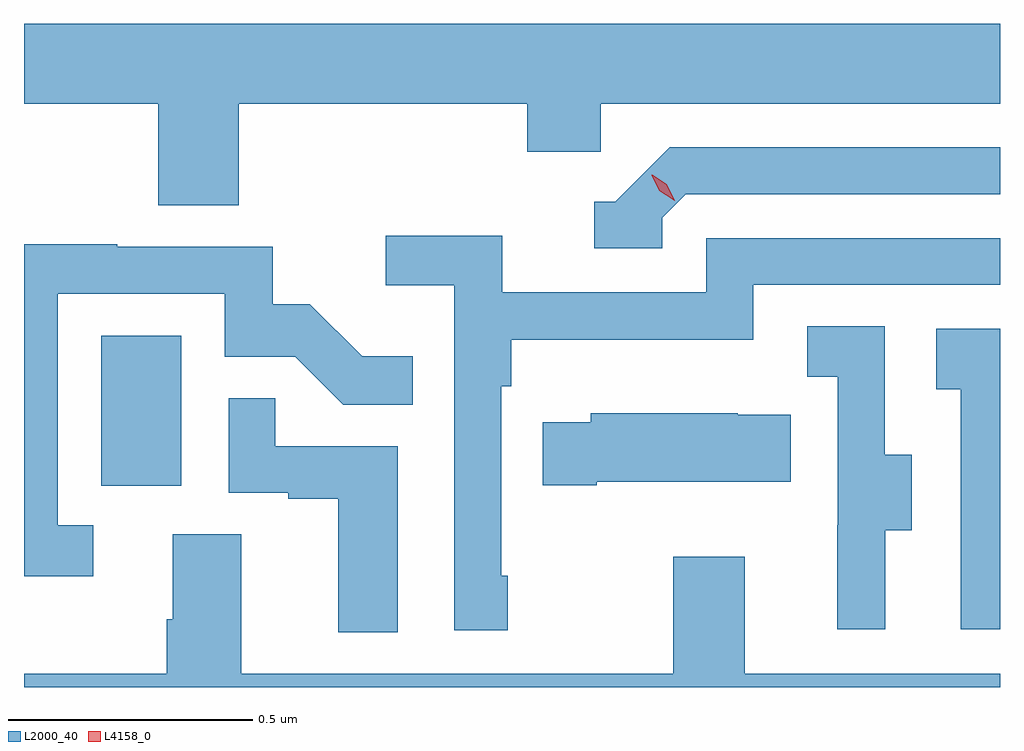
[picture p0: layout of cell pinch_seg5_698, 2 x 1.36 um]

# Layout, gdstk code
import gdstk
lib = gdstk.Library(unit=1e-6, precision=1e-09)
def R(c, l, rs):  # rectangles x0, y0, x1, y1
    for r in rs: c.add(gdstk.rectangle(r[:2], r[2:], *l))
def P(c, l, *ps):  # polygons
    for p in ps: c.add(gdstk.Polygon(p, *l))
L2000_40 = (2000, 40)
L4158_0 = (4158, 0)

pinch_seg5_698 = lib.new_cell('pinch_seg5_698')
R(pinch_seg5_698, L2000_40, [(1106.156,841.326,1106.32,841.633)])
P(pinch_seg5_698, L2000_40, [(1106.438,842.108),(1107.029,842.108),(1107.029,842.01),(1107.18,842.01),(1107.18,842.108),(1107.998,842.108),(1107.998,842.272),(1105.998,842.272),(1105.998,842.108),(1106.273,842.108),(1106.273,841.9),(1106.438,841.9)],
  [(1107.306,841.875),(1107.354,841.923),(1107.998,841.923),(1107.998,842.019),(1107.321,842.019),(1107.21,841.908),(1107.167,841.908),(1107.167,841.812),(1107.306,841.812)],
  [(1106.989,841.141),(1106.976,841.141),(1106.976,841.529),(1106.996,841.529),(1106.996,841.625),(1107.492,841.625),(1107.492,841.737),(1107.998,841.737),(1107.998,841.833),(1107.396,841.833),(1107.396,841.722),(1106.978,841.722),(1106.978,841.838),(1106.739,841.838),(1106.739,841.736),(1106.88,841.736),(1106.88,841.029),(1106.989,841.029)],
  [(1106.14,841.245),(1106.067,841.245),(1106.067,841.719),(1106.409,841.719),(1106.409,841.59),(1106.554,841.59),(1106.652,841.492),(1106.795,841.492),(1106.795,841.591),(1106.691,841.591),(1106.584,841.698),(1106.508,841.698),(1106.508,841.815),(1106.189,841.815),(1106.189,841.82),(1105.998,841.82),(1105.998,841.14),(1106.14,841.14)],
  [(1107.763,841.234),(1107.817,841.234),(1107.817,841.389),(1107.762,841.389),(1107.762,841.652),(1107.603,841.652),(1107.603,841.549),(1107.666,841.549),(1107.666,841.245),(1107.665,841.245),(1107.665,841.032),(1107.763,841.032)],
  [(1107.998,841.647),(1107.867,841.647),(1107.867,841.523),(1107.918,841.523),(1107.918,841.032),(1107.998,841.032)],
  [(1106.764,841.407),(1106.513,841.407),(1106.513,841.505),(1106.418,841.505),(1106.418,841.311),(1106.539,841.311),(1106.539,841.299),(1106.642,841.299),(1106.642,841.025),(1106.764,841.025)],
  [(1107.172,841.334),(1107.569,841.334),(1107.569,841.471),(1107.461,841.471),(1107.461,841.474),(1107.159,841.474),(1107.159,841.456),(1107.061,841.456),(1107.061,841.327),(1107.172,841.327)],
  [(1107.998,840.94),(1107.475,840.94),(1107.475,841.18),(1107.328,841.18),(1107.328,840.94),(1106.443,840.94),(1106.443,841.226),(1106.303,841.226),(1106.303,841.052),(1106.291,841.052),(1106.291,840.94),(1105.998,840.94),(1105.998,840.913),(1107.998,840.913)])
P(pinch_seg5_698, L4158_0, [(1107.331,841.91),(1107.3,841.93),(1107.284,841.962),(1107.284,841.963),(1107.285,841.963),(1107.315,841.943),(1107.331,841.91),(1107.331,841.91)])

lib.write_gds('pinch_seg5_698.gds')
